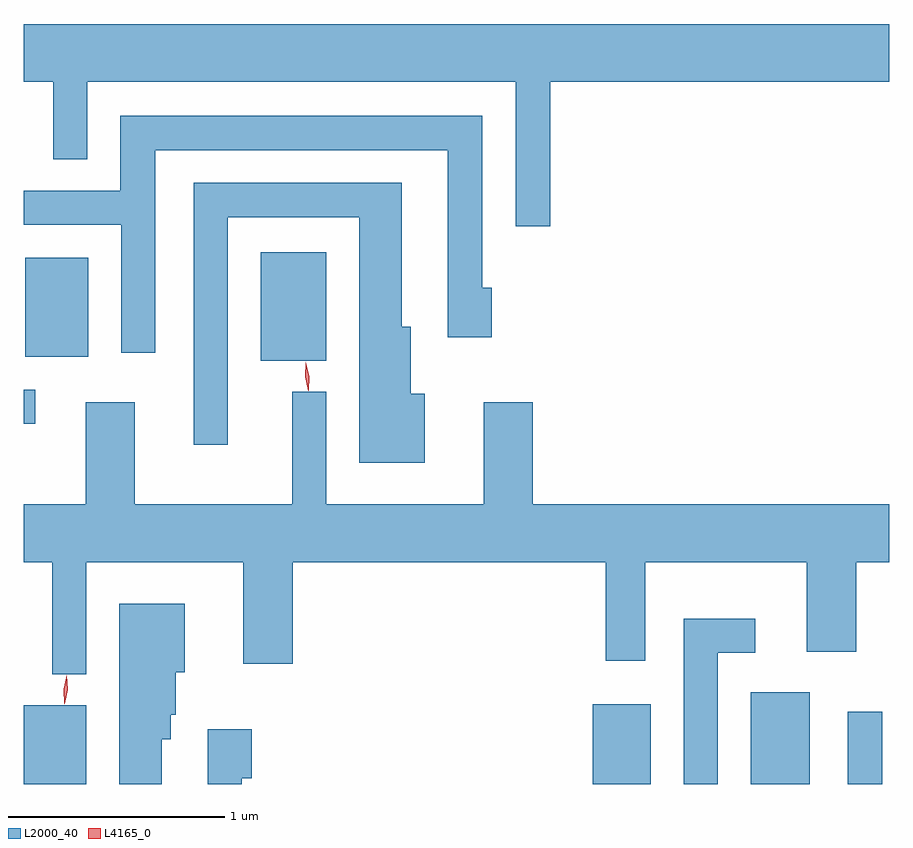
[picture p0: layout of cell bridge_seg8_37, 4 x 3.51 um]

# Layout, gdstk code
import gdstk
lib = gdstk.Library(unit=1e-6, precision=1e-09)
def R(c, l, rs):  # rectangles x0, y0, x1, y1
    for r in rs: c.add(gdstk.rectangle(r[:2], r[2:], *l))
def P(c, l, *ps):  # polygons
    for p in ps: c.add(gdstk.Polygon(p, *l))
L2000_40 = (2000, 40)
L4165_0 = (4165, 0)

bridge_seg8_37 = lib.new_cell('bridge_seg8_37')
R(bridge_seg8_37, L2000_40, [(1488.766,1879.79,1489.054,1880.154), (1491.396,1879.79,1491.664,1880.159), (1492.126,1879.79,1492.399,1880.214), (1492.576,1879.79,1492.734,1880.123), (1488.766,1881.456,1488.818,1881.614), (1489.861,1881.746,1490.164,1882.249), (1488.771,1881.766,1489.064,1882.224)])
P(bridge_seg8_37, L2000_40, [(1491.199,1883.036),(1492.766,1883.036),(1492.766,1883.304),(1488.766,1883.304),(1488.766,1883.036),(1488.901,1883.036),(1488.901,1882.678),(1489.059,1882.678),(1489.059,1883.036),(1491.041,1883.036),(1491.041,1882.368),(1491.199,1882.368)],
  [(1489.374,1882.721),(1490.726,1882.721),(1490.726,1881.856),(1490.929,1881.856),(1490.929,1882.084),(1490.884,1882.084),(1490.884,1882.879),(1489.211,1882.879),(1489.211,1882.534),(1488.766,1882.534),(1488.766,1882.376),(1489.216,1882.376),(1489.216,1881.783),(1489.374,1881.783)],
  [(1490.619,1881.594),(1490.554,1881.594),(1490.554,1881.904),(1490.514,1881.904),(1490.514,1882.569),(1489.551,1882.569),(1489.551,1881.358),(1489.709,1881.358),(1489.709,1882.411),(1490.316,1882.411),(1490.316,1881.276),(1490.619,1881.276)],
  [(1490.891,1881.554),(1490.891,1881.084),(1490.164,1881.084),(1490.164,1881.603),(1490.006,1881.603),(1490.006,1881.084),(1489.279,1881.084),(1489.279,1881.554),(1489.051,1881.554),(1489.051,1881.084),(1488.766,1881.084),(1488.766,1880.816),(1488.896,1880.816),(1488.896,1880.298),(1489.054,1880.298),(1489.054,1880.816),(1489.781,1880.816),(1489.781,1880.346),(1490.009,1880.346),(1490.009,1880.816),(1491.456,1880.816),(1491.456,1880.361),(1491.639,1880.361),(1491.639,1880.816),(1492.386,1880.816),(1492.386,1880.401),(1492.614,1880.401),(1492.614,1880.816),(1492.766,1880.816),(1492.766,1881.084),(1491.119,1881.084),(1491.119,1881.554)],
  [(1489.404,1879.996),(1489.444,1879.996),(1489.444,1880.111),(1489.469,1880.111),(1489.469,1880.306),(1489.509,1880.306),(1489.509,1880.624),(1489.206,1880.624),(1489.206,1879.79),(1489.404,1879.79)],
  [(1491.974,1880.396),(1492.148,1880.396),(1492.148,1880.554),(1491.816,1880.554),(1491.816,1879.79),(1491.974,1879.79)],
  [(1489.774,1879.816),(1489.819,1879.816),(1489.819,1880.044),(1489.616,1880.044),(1489.616,1879.79),(1489.774,1879.79)])
P(bridge_seg8_37, L4165_0, [(1490.081,1881.608),(1490.066,1881.673),(1490.069,1881.74),(1490.07,1881.74),(1490.07,1881.74),(1490.086,1881.675),(1490.082,1881.608),(1490.082,1881.608)],
  [(1488.954,1880.16),(1488.953,1880.161),(1488.949,1880.227),(1488.964,1880.292),(1488.964,1880.293),(1488.964,1880.292),(1488.969,1880.226),(1488.954,1880.161)])

lib.write_gds('bridge_seg8_37.gds')
